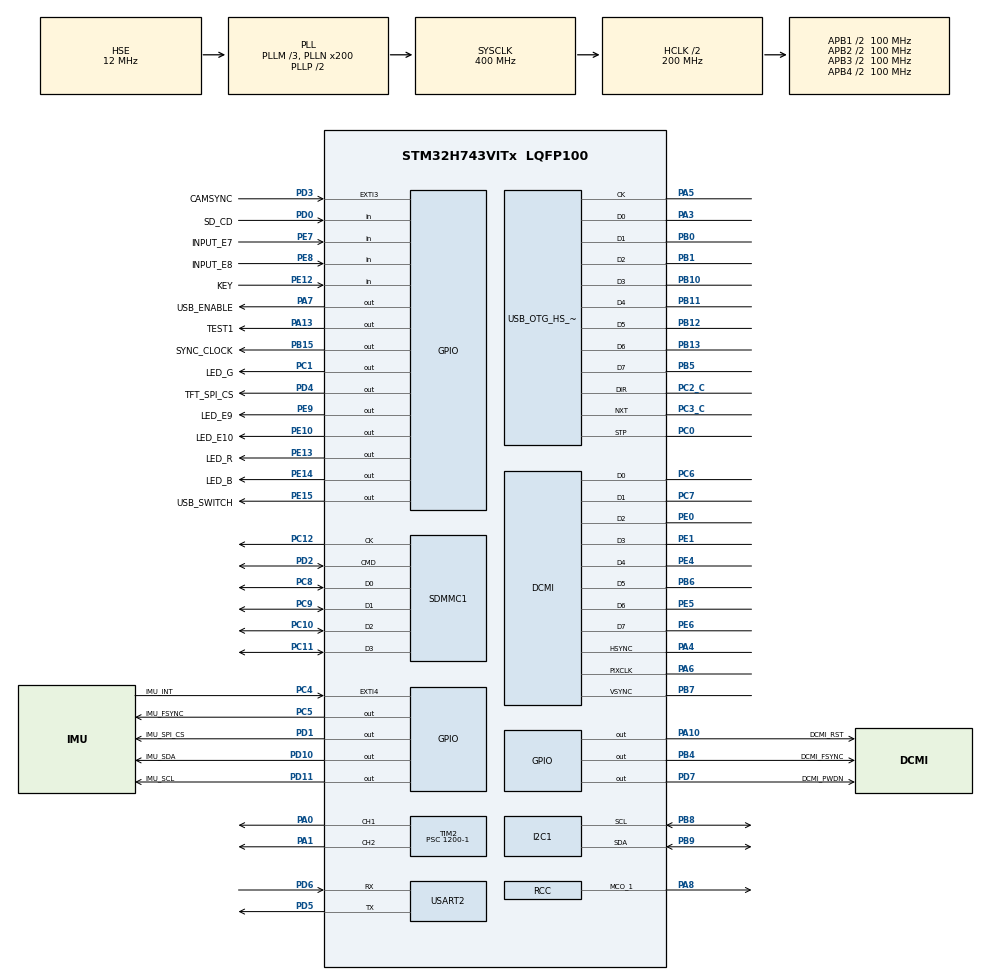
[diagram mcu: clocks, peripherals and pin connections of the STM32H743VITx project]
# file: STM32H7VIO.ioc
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CORTEX_M7.AccessPermission-Cortex_Memory_Protection_Unit_Region0_Settings=MPU_REGION_FULL_ACCESS
CORTEX_M7.BaseAddress-Cortex_Memory_Protection_Unit_Region0_Settings=0x24000000
CORTEX_M7.CPU_DCache=Enabled
CORTEX_M7.CPU_ICache=Enabled
CORTEX_M7.Enable-Cortex_Memory_Protection_Unit_Region0_Settings=MPU_REGION_ENABLE
CORTEX_M7.MPU_Control=__NULL
CORTEX_M7.Size-Cortex_Memory_Protection_Unit_Region0_Settings=MPU_REGION_SIZE_512KB
DCMI.JPEGMode=DCMI_JPEG_DISABLE
Dma.DCMI.0.Direction=DMA_PERIPH_TO_MEMORY
Dma.DCMI.0.EventEnable=DISABLE
Dma.DCMI.0.FIFOMode=DMA_FIFOMODE_ENABLE
Dma.DCMI.0.FIFOThreshold=DMA_FIFO_THRESHOLD_FULL
Dma.DCMI.0.Instance=DMA2_Stream1
Dma.DCMI.0.MemBurst=DMA_MBURST_SINGLE
Dma.DCMI.0.MemDataAlignment=DMA_MDATAALIGN_WORD
Dma.DCMI.0.MemInc=DMA_MINC_ENABLE
Dma.DCMI.0.Mode=DMA_CIRCULAR
Dma.DCMI.0.PeriphBurst=DMA_PBURST_SINGLE
Dma.DCMI.0.PeriphDataAlignment=DMA_PDATAALIGN_WORD
Dma.DCMI.0.PeriphInc=DMA_PINC_DISABLE
Dma.DCMI.0.Polarity=HAL_DMAMUX_REQ_GEN_RISING
Dma.DCMI.0.Priority=DMA_PRIORITY_HIGH
Dma.DCMI.0.RequestNumber=1
Dma.DCMI.0.SignalID=NONE
Dma.DCMI.0.SyncEnable=DISABLE
Dma.DCMI.0.SyncPolarity=HAL_DMAMUX_SYNC_NO_EVENT
Dma.DCMI.0.SyncRequestNumber=1
Dma.DCMI.0.SyncSignalID=NONE
Dma.Request0=DCMI
FATFS.BSP.number=1
FATFS._CODE_PAGE=936
FATFS._USE_LFN=2
FATFS0.BSP.STBoard=false
FATFS0.BSP.api=Unknown
FATFS0.BSP.i2caddr=0
FATFS0.BSP.instance=PD0
FATFS0.BSP.ip=GPIO
FATFS0.BSP.mode=Input
FATFS0.BSP.name=Detect_SDIO
FATFS0.BSP.solution=PD0
FREERTOS.Tasks01=defaultTask,0,1024,StartDefaultTask,Default,NULL,Dynamic,NULL,NULL
FREERTOS.configTOTAL_HEAP_SIZE=16384
FREERTOS.configUSE_TIMERS=1
I2C1.Analog_Filter=I2C_ANALOGFILTER_ENABLE
I2C1.Timing=0x10C0ECFF
Mcu.Family=STM32H7
Mcu.Name=STM32H743VITx
Mcu.Package=LQFP100
Mdma.MDMA_Channel0.Request0=SDMMC1_END_DATA
Mdma.MDMA_Channel0.RequestsNb=1
Mdma.MDMA_Channel0.SDMMC1_END_DATA.0.BlockCount=0
Mdma.MDMA_Channel0.SDMMC1_END_DATA.0.BlockDataLength=0
Mdma.MDMA_Channel0.SDMMC1_END_DATA.0.BufferTransferLength=1
Mdma.MDMA_Channel0.SDMMC1_END_DATA.0.CircularMode=MDMA_LINEAR_LIST
Mdma.MDMA_Channel0.SDMMC1_END_DATA.0.DataAlignment=MDMA_DATAALIGN_PACKENABLE
Mdma.MDMA_Channel0.SDMMC1_END_DATA.0.DestBlockAddressOffset=0
Mdma.MDMA_Channel0.SDMMC1_END_DATA.0.DestBurst=MDMA_DEST_BURST_SINGLE
Mdma.MDMA_Channel0.SDMMC1_END_DATA.0.DestDataSize=MDMA_DEST_DATASIZE_BYTE
Mdma.MDMA_Channel0.SDMMC1_END_DATA.0.DestinationInc=MDMA_DEST_INC_BYTE
Mdma.MDMA_Channel0.SDMMC1_END_DATA.0.DstAddress=0
Mdma.MDMA_Channel0.SDMMC1_END_DATA.0.Endianness=MDMA_LITTLE_ENDIANNESS_PRESERVE
Mdma.MDMA_Channel0.SDMMC1_END_DATA.0.Instance=MDMA_Channel0
Mdma.MDMA_Channel0.SDMMC1_END_DATA.0.MaskAddress=0
Mdma.MDMA_Channel0.SDMMC1_END_DATA.0.MaskData=0
Mdma.MDMA_Channel0.SDMMC1_END_DATA.0.Priority=MDMA_PRIORITY_LOW
Mdma.MDMA_Channel0.SDMMC1_END_DATA.0.Rank=First
Mdma.MDMA_Channel0.SDMMC1_END_DATA.0.SourceBlockAddressOffset=0
Mdma.MDMA_Channel0.SDMMC1_END_DATA.0.SourceBurst=MDMA_SOURCE_BURST_SINGLE
Mdma.MDMA_Channel0.SDMMC1_END_DATA.0.SourceDataSize=MDMA_SRC_DATASIZE_BYTE
Mdma.MDMA_Channel0.SDMMC1_END_DATA.0.SourceInc=MDMA_SRC_INC_BYTE
Mdma.MDMA_Channel0.SDMMC1_END_DATA.0.SrcAddress=0
Mdma.MDMA_Channel0.SDMMC1_END_DATA.0.TransferTriggerMode=MDMA_BUFFER_TRANSFER
Mdma.RequestSet0=MDMA_Channel0
Mdma.RequestSetsNb=1
NVIC.DCMI_IRQn=true\:5\:0\:false\:false\:true\:true\:true\:true\:true
NVIC.DMA2_Stream1_IRQn=true\:5\:0\:false\:false\:true\:true\:false\:true\:true
NVIC.EXTI3_IRQn=true\:0\:0\:false\:false\:true\:false\:true\:true\:true
NVIC.EXTI4_IRQn=true\:5\:0\:true\:false\:true\:false\:true\:true\:true
NVIC.MDMA_IRQn=true\:5\:0\:false\:false\:true\:true\:false\:true\:true
NVIC.OTG_HS_IRQn=true\:5\:0\:false\:false\:true\:true\:true\:true\:true
NVIC.PriorityGroup=NVIC_PRIORITYGROUP_4
NVIC.SDMMC1_IRQn=true\:5\:0\:false\:false\:true\:true\:true\:true\:true
NVIC.TIM6_DAC_IRQn=true\:5\:0\:false\:false\:true\:true\:true\:true\:true
NVIC.TIM7_IRQn=true\:0\:0\:false\:false\:true\:false\:false\:true\:true
NVIC.TIM8_UP_TIM13_IRQn=true\:5\:0\:false\:false\:true\:true\:true\:true\:true
NVIC.TimeBase=TIM7_IRQn
NVIC.TimeBaseIP=TIM7
PA0.Signal=S_TIM2_CH1
PA1.Signal=S_TIM2_CH2
PA10.GPIO_Label=DCMI_RST
PA10.Signal=GPIO_Output
PA13\ (JTMS/SWDIO).GPIO_Label=TEST1
PA13\ (JTMS/SWDIO).GPIO_ModeDefaultOutputPP=GPIO_MODE_OUTPUT_PP
PA13\ (JTMS/SWDIO).GPIO_PuPd=GPIO_PULLUP
PA13\ (JTMS/SWDIO).GPIO_Speed=GPIO_SPEED_FREQ_VERY_HIGH
PA13\ (JTMS/SWDIO).Signal=GPIO_Output
PA3.Mode=Device_HS
PA3.Signal=USB_OTG_HS_ULPI_D0
PA4.Mode=Slave_8_bits_External_Synchro
PA4.Signal=DCMI_HSYNC
PA5.Mode=Device_HS
PA5.Signal=USB_OTG_HS_ULPI_CK
PA6.Mode=Slave_8_bits_External_Synchro
PA6.Signal=DCMI_PIXCLK
PA7.GPIO_Label=USB_ENABLE
PA7.PinState=GPIO_PIN_SET
PA7.Signal=GPIO_Output
PA8.Mode=Clock-out-1
PA8.Signal=RCC_MCO_1
PB0.Mode=Device_HS
PB0.Signal=USB_OTG_HS_ULPI_D1
PB1.Mode=Device_HS
PB1.Signal=USB_OTG_HS_ULPI_D2
PB10.Mode=Device_HS
PB10.Signal=USB_OTG_HS_ULPI_D3
PB11.Mode=Device_HS
PB11.Signal=USB_OTG_HS_ULPI_D4
PB12.Mode=Device_HS
PB12.Signal=USB_OTG_HS_ULPI_D5
PB13.Mode=Device_HS
PB13.Signal=USB_OTG_HS_ULPI_D6
PB15.GPIO_Label=SYNC_CLOCK
PB15.GPIO_PuPd=GPIO_PULLUP
PB15.Signal=GPIO_Output
PB4\ (NJTRST).GPIO_Label=DCMI_FSYNC
PB4\ (NJTRST).Signal=GPIO_Output
PB5.Mode=Device_HS
PB5.Signal=USB_OTG_HS_ULPI_D7
PB6.Mode=Slave_8_bits_External_Synchro
PB6.Signal=DCMI_D5
PB7.Mode=Slave_8_bits_External_Synchro
PB7.Signal=DCMI_VSYNC
PB8.GPIO_Pu=GPIO_PULLUP
PB8.Mode=I2C
PB8.Signal=I2C1_SCL
PB9.GPIO_Pu=GPIO_PULLUP
PB9.Mode=I2C
PB9.Signal=I2C1_SDA
PC0.Mode=Device_HS
PC0.Signal=USB_OTG_HS_ULPI_STP
PC1.GPIO_Label=LED_G
PC1.PinState=GPIO_PIN_SET
PC1.Signal=GPIO_Output
PC10.GPIO_PuPd=GPIO_PULLUP
PC10.Mode=SD_4_bits_Wide_bus
PC10.Signal=SDMMC1_D2
PC11.GPIO_PuPd=GPIO_PULLUP
PC11.Mode=SD_4_bits_Wide_bus
PC11.Signal=SDMMC1_D3
PC12.GPIO_PuPd=GPIO_PULLUP
PC12.Mode=SD_4_bits_Wide_bus
PC12.Signal=SDMMC1_CK
PC2_C.Mode=Device_HS
PC2_C.Signal=USB_OTG_HS_ULPI_DIR
PC3_C.Mode=Device_HS
PC3_C.Signal=USB_OTG_HS_ULPI_NXT
PC4.GPIO_Label=IMU_INT
PC4.GPIO_ModeDefaultEXTI=GPIO_MODE_IT_RISING
PC4.GPIO_PuPd=GPIO_PULLUP
PC4.Signal=GPXTI4
PC5.GPIO_Label=IMU_FSYNC
PC5.Signal=GPIO_Output
PC6.Mode=Slave_8_bits_External_Synchro
PC6.Signal=DCMI_D0
PC7.Mode=Slave_8_bits_External_Synchro
PC7.Signal=DCMI_D1
PC8.GPIO_PuPd=GPIO_PULLUP
PC8.Mode=SD_4_bits_Wide_bus
PC8.Signal=SDMMC1_D0
PC9.GPIO_PuPd=GPIO_PULLUP
PC9.Mode=SD_4_bits_Wide_bus
PC9.Signal=SDMMC1_D1
PD0.GPIO_Label=SD_CD
PD0.Signal=GPIO_Input
PD1.GPIO_Label=IMU_SPI_CS
PD1.Signal=GPIO_Output
PD10.GPIO_Label=IMU_SDA
PD10.Signal=GPIO_Output
PD11.GPIO_Label=IMU_SCL
PD11.Signal=GPIO_Output
PD2.GPIO_PuPd=GPIO_PULLUP
PD2.Mode=SD_4_bits_Wide_bus
PD2.Signal=SDMMC1_CMD
PD3.GPIO_Label=CAMSYNC
PD3.GPIO_ModeDefaultEXTI=GPIO_MODE_IT_RISING_FALLING
PD3.GPIO_PuPd=GPIO_PULLUP
PD3.Signal=GPXTI3
PD4.GPIO_Label=TFT_SPI_CS
PD4.Signal=GPIO_Output
PD5.Mode=Asynchronous
PD5.Signal=USART2_TX
PD6.Mode=Asynchronous
PD6.Signal=USART2_RX
PD7.GPIO_Label=DCMI_PWDN
PD7.Signal=GPIO_Output
PE0.Mode=Slave_8_bits_External_Synchro
PE0.Signal=DCMI_D2
PE1.Mode=Slave_8_bits_External_Synchro
PE1.Signal=DCMI_D3
PE10.GPIO_Label=LED_E10
PE10.PinState=GPIO_PIN_SET
PE10.Signal=GPIO_Output
PE12.GPIO_Label=KEY
PE12.GPIO_PuPd=GPIO_PULLUP
PE12.Signal=GPIO_Input
PE13.GPIO_Label=LED_R
PE13.PinState=GPIO_PIN_SET
PE13.Signal=GPIO_Output
PE14.GPIO_Label=LED_B
PE14.GPIO_Speed=GPIO_SPEED_FREQ_VERY_HIGH
PE14.PinState=GPIO_PIN_SET
PE14.Signal=GPIO_Output
PE15.GPIO_Label=USB_SWITCH
PE15.PinState=GPIO_PIN_RESET
PE15.Signal=GPIO_Output
PE4.Mode=Slave_8_bits_External_Synchro
PE4.Signal=DCMI_D4
PE5.Mode=Slave_8_bits_External_Synchro
PE5.Signal=DCMI_D6
PE6.Mode=Slave_8_bits_External_Synchro
PE6.Signal=DCMI_D7
PE7.GPIO_Label=INPUT_E7
PE7.Signal=GPIO_Input
PE8.GPIO_Label=INPUT_E8
PE8.Signal=GPIO_Input
PE9.GPIO_Label=LED_E9
PE9.PinState=GPIO_PIN_SET
PE9.Signal=GPIO_Output
PH0-OSC_IN\ (PH0).Mode=HSE-External-Oscillator
PH0-OSC_IN\ (PH0).Signal=RCC_OSC_IN
PH1-OSC_OUT\ (PH1).Mode=HSE-External-Oscillator
PH1-OSC_OUT\ (PH1).Signal=RCC_OSC_OUT
ProjectManager.HeapSize=0xA00
ProjectManager.StackSize=0x1000
ProjectManager.TargetToolchain=Makefile
RCC.ADCCLockSelection=RCC_ADCCLKSOURCE_CLKP
RCC.ADCFreq_Value=64000000
RCC.APB1Freq_Value=100000000
RCC.APB2Freq_Value=100000000
RCC.APB3Freq_Value=100000000
RCC.APB4Freq_Value=100000000
RCC.CortexFreq_Value=400000000
RCC.D1PPRE=RCC_APB3_DIV2
RCC.D2PPRE1=RCC_APB1_DIV2
RCC.D2PPRE2=RCC_APB2_DIV2
RCC.D3PPRE=RCC_APB4_DIV2
RCC.DIVM1=3
RCC.DIVM2=6
RCC.DIVM3=6
RCC.DIVN1=200
RCC.DIVN2=112
RCC.DIVN3=400
RCC.DIVP2=1
RCC.DIVQ1=5
RCC.DIVQ3=4
RCC.DIVR2=16
RCC.HCLKFreq_Value=200000000
RCC.HPRE=RCC_HCLK_DIV2
RCC.HSE_VALUE=12000000
RCC.PLL2FRACN=4096
RCC.PLL3FRACN=0
RCC.PLLFRACN=0
RCC.PLLSourceVirtual=RCC_PLLSOURCE_HSE
RCC.RCC_MCO1Source=RCC_MCO1SOURCE_PLL1QCLK
RCC.RCC_MCODiv1=RCC_MCODIV_6
RCC.SYSCLKFreq_VALUE=400000000
RCC.SYSCLKSource=RCC_SYSCLKSOURCE_PLLCLK
RCC.USBCLockSelection=RCC_USBCLKSOURCE_HSI48
RCC.USBFreq_Value=48000000
SDMMC1.USE_SD_TRANSCEIVER=0U
SH.S_TIM2_CH1.0=TIM2_CH1,PWM Generation1 CH1
SH.S_TIM2_CH2.0=TIM2_CH2,PWM Generation2 CH2
TIM13.AutoReloadPreload=TIM_AUTORELOAD_PRELOAD_ENABLE
TIM13.Period=500-1
TIM13.Prescaler=2000-1
TIM2.AutoReloadPreload=TIM_AUTORELOAD_PRELOAD_ENABLE
TIM2.Channel-PWM\ Generation1\ CH1=TIM_CHANNEL_1
TIM2.Channel-PWM\ Generation2\ CH2=TIM_CHANNEL_2
TIM2.Period=100-1
TIM2.Prescaler=1200-1
TIM6.AutoReloadPreload=TIM_AUTORELOAD_PRELOAD_ENABLE
TIM6.Period=500-1
TIM6.Prescaler=2000-1
USART2.VirtualMode-Asynchronous=VM_ASYNC
USB_DEVICE.CLASS_NAME_HS=CDC
USB_DEVICE.VirtualMode-CDC_HS=Cdc
USB_DEVICE.VirtualModeHS=Cdc_HS
USB_OTG_HS.VirtualMode-Device_HS=Device_HS
USB_OTG_HS.dma_enable-Device_HS=DISABLE
VP_FATFS_VS_SDIO.Mode=SDIO
VP_FREERTOS_VS_CMSIS_V1.Mode=CMSIS_V1
VP_SYS_VS_tim7.Mode=TIM7
VP_TIM13_VS_ClockSourceINT.Mode=Enable_Timer
VP_TIM6_VS_ClockSourceINT.Mode=Enable_Timer
VP_USB_DEVICE_VS_USB_DEVICE_CDC_HS.Mode=CDC_HS
board=custom

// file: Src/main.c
/* USER CODE BEGIN Header */
/**
  ******************************************************************************
  * @file           : main.c
  * @brief          : Main program body
  ******************************************************************************
  * @attention
  *
  * <h2><center>&copy; Copyright (c) 2019 STMicroelectronics.
  * All rights reserved.</center></h2>
  *
  * This software component is licensed by ST under Ultimate Liberty license
  * SLA0044, the "License"; You may not use this file except in compliance with
  * the License. You may obtain a copy of the License at:
  *                             www.st.com/SLA0044
  *
  ******************************************************************************
  */
/* USER CODE END Header */
#include "main.h"
#include "cmsis_os.h"
#include "dcmi.h"
#include "dma.h"
#include "fatfs.h"
#include "i2c.h"
#include "mdma.h"
#include "sdmmc.h"
#include "tim.h"
#include "usart.h"
#include "usb_device.h"
#include "gpio.h"

/* USER CODE BEGIN Includes */
#include "mpu6050.h"
/* USER CODE END Includes */

void SystemClock_Config(void);
void MX_FREERTOS_Init(void);
/* USER CODE BEGIN PFP */
uint32_t timer_cnt = 0;
/* USER CODE END PFP */

int main(void)
{

  /* Enable I-Cache---------------------------------------------------------*/
  SCB_EnableICache();

  /* Enable D-Cache---------------------------------------------------------*/
  SCB_EnableDCache();

  /* MCU Configuration--------------------------------------------------------*/

  /* Reset of all peripherals, Initializes the Flash interface and the Systick. */
  HAL_Init();

  /* Configure the system clock */
  SystemClock_Config();

  /* USER CODE BEGIN SysInit */
  __HAL_RCC_DMA2_CLK_ENABLE();//must enable dma2,for dcmi work well.
  /* USER CODE END SysInit */

  /* Initialize all configured peripherals */
  MX_GPIO_Init();
  MX_DCMI_Init();
  MX_I2C1_Init();
  MX_DMA_Init();
  MX_SDMMC1_SD_Init();
  MX_FATFS_Init();
  MX_MDMA_Init();
  MX_USART2_UART_Init();
  MX_TIM6_Init();
  MX_TIM13_Init();
  MX_TIM2_Init();
  /* USER CODE BEGIN 2 */
  USER_MX_TIM6_Init(40);
  //HAL_TIM_Base_Start_IT(&htim6);
  //HAL_TIM_Base_Start_IT(&htim13);
  HAL_TIM_PWM_Start(&htim2,TIM_CHANNEL_1);
  HAL_TIM_PWM_Start(&htim2,TIM_CHANNEL_2);
  __HAL_TIM_SET_COMPARE(&htim2, TIM_CHANNEL_1, 0);
  __HAL_TIM_SET_COMPARE(&htim2, TIM_CHANNEL_2, 0);
  printf("[ openvio app ]\r\n");

  /* USER CODE END 2 */

  /* Call init function for freertos objects (in freertos.c) */
  MX_FREERTOS_Init();
  /* Start scheduler */
  osKernelStart();

  /* We should never get here as control is now taken by the scheduler */
  /* Infinite loop */
  while (1)
  {

    /* USER CODE BEGIN 3 */
      //CDC_Transmit_HS(send_buf,sizeof(send_buf));
  }
  /* USER CODE END 3 */
}

void SystemClock_Config(void)
{
  RCC_OscInitTypeDef RCC_OscInitStruct = {0};
  RCC_ClkInitTypeDef RCC_ClkInitStruct = {0};

  /** Supply configuration update enable
  */
  HAL_PWREx_ConfigSupply(PWR_LDO_SUPPLY);
  /** Configure the main internal regulator output voltage
  */
  __HAL_PWR_VOLTAGESCALING_CONFIG(PWR_REGULATOR_VOLTAGE_SCALE1);

  while(!__HAL_PWR_GET_FLAG(PWR_FLAG_VOSRDY)) {}
  /** Initializes the RCC Oscillators according to the specified parameters
  * in the RCC_OscInitTypeDef structure.
  */
  RCC_OscInitStruct.OscillatorType = RCC_OSCILLATORTYPE_HSI48|RCC_OSCILLATORTYPE_HSE;
  RCC_OscInitStruct.HSEState = RCC_HSE_ON;
  RCC_OscInitStruct.HSI48State = RCC_HSI48_ON;
  RCC_OscInitStruct.PLL.PLLState = RCC_PLL_ON;
  RCC_OscInitStruct.PLL.PLLSource = RCC_PLLSOURCE_HSE;
  RCC_OscInitStruct.PLL.PLLM = 3;
  RCC_OscInitStruct.PLL.PLLN = 200;
  RCC_OscInitStruct.PLL.PLLP = 2;
  RCC_OscInitStruct.PLL.PLLQ = 5;
  RCC_OscInitStruct.PLL.PLLR = 2;
  RCC_OscInitStruct.PLL.PLLRGE = RCC_PLL1VCIRANGE_2;
  RCC_OscInitStruct.PLL.PLLVCOSEL = RCC_PLL1VCOWIDE;
  RCC_OscInitStruct.PLL.PLLFRACN = 0;
  if (HAL_RCC_OscConfig(&RCC_OscInitStruct) != HAL_OK)
  {
    Error_Handler();
  }
  /** Initializes the CPU, AHB and APB buses clocks
  */
  RCC_ClkInitStruct.ClockType = RCC_CLOCKTYPE_HCLK|RCC_CLOCKTYPE_SYSCLK
                              |RCC_CLOCKTYPE_PCLK1|RCC_CLOCKTYPE_PCLK2
                              |RCC_CLOCKTYPE_D3PCLK1|RCC_CLOCKTYPE_D1PCLK1;
  RCC_ClkInitStruct.SYSCLKSource = RCC_SYSCLKSOURCE_PLLCLK;
  RCC_ClkInitStruct.SYSCLKDivider = RCC_SYSCLK_DIV1;
  RCC_ClkInitStruct.AHBCLKDivider = RCC_HCLK_DIV2;
  RCC_ClkInitStruct.APB3CLKDivider = RCC_APB3_DIV2;
  RCC_ClkInitStruct.APB1CLKDivider = RCC_APB1_DIV2;
  RCC_ClkInitStruct.APB2CLKDivider = RCC_APB2_DIV2;
  RCC_ClkInitStruct.APB4CLKDivider = RCC_APB4_DIV2;

  if (HAL_RCC_ClockConfig(&RCC_ClkInitStruct, FLASH_LATENCY_2) != HAL_OK)
  {
    Error_Handler();
  }
  HAL_RCC_MCOConfig(RCC_MCO1, RCC_MCO1SOURCE_PLL1QCLK, RCC_MCODIV_6);
}

/* USER CODE BEGIN 4 */
void get_time(uint32_t *t1_cnt,uint16_t *t2_cnt)
{
	*t2_cnt = htim6.Instance->CNT;
	*t1_cnt = timer_cnt;
}
/* USER CODE END 4 */

void HAL_TIM_PeriodElapsedCallback(TIM_HandleTypeDef *htim)
{
  if (htim->Instance == TIM7) {
    HAL_IncTick();
  }
  /* USER CODE BEGIN Callback 1 */
  if (htim->Instance == TIM6) {

	//timer_cnt++;
  }

  if (htim->Instance == TIM13) {
	  mpu6050_transmit();
  }
  /* USER CODE END Callback 1 */
}

void Error_Handler(void)
{
}

/************************ (C) COPYRIGHT STMicroelectronics *****END OF FILE****/

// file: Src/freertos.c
/* USER CODE BEGIN Header */
/**
  ******************************************************************************
  * File Name          : freertos.c
  * Description        : Code for freertos applications
  ******************************************************************************
  * @attention
  *
  * <h2><center>&copy; Copyright (c) 2019 STMicroelectronics.
  * All rights reserved.</center></h2>
  *
  * This software component is licensed by ST under Ultimate Liberty license
  * SLA0044, the "License"; You may not use this file except in compliance with
  * the License. You may obtain a copy of the License at:
  *                             www.st.com/SLA0044
  *
  ******************************************************************************
  */
/* USER CODE END Header */

#include "FreeRTOS.h"
#include "task.h"
#include "main.h"
#include "cmsis_os.h"

/* USER CODE BEGIN Includes */
#include "openvio_task.h"
#include "dcmi.h"
#include "sd_card.h"
#include "openvio.h"
#include "usbd_cdc_if.h"

uint16_t adc_value;
uint8_t fps_value;
extern uint8_t fps_count;
extern USBD_HandleTypeDef hUsbDeviceHS;
extern struct OPENVIO_STATUS vio_status;
//extern ADC_HandleTypeDef hadc1;
/* USER CODE END Includes */

osThreadId defaultTaskHandle;

/* USER CODE BEGIN FunctionPrototypes */
osThreadId openvioTaskHandle;
/* USER CODE END FunctionPrototypes */

void StartDefaultTask(void const * argument);

extern void MX_USB_DEVICE_Init(void);
void MX_FREERTOS_Init(void); /* (MISRA C 2004 rule 8.1) */

/* GetIdleTaskMemory prototype (linked to static allocation support) */
void vApplicationGetIdleTaskMemory( StaticTask_t **ppxIdleTaskTCBBuffer, StackType_t **ppxIdleTaskStackBuffer, uint32_t *pulIdleTaskStackSize );

/* GetTimerTaskMemory prototype (linked to static allocation support) */
void vApplicationGetTimerTaskMemory( StaticTask_t **ppxTimerTaskTCBBuffer, StackType_t **ppxTimerTaskStackBuffer, uint32_t *pulTimerTaskStackSize );

/* USER CODE BEGIN GET_IDLE_TASK_MEMORY */
static StaticTask_t xIdleTaskTCBBuffer;
static StackType_t xIdleStack[configMINIMAL_STACK_SIZE];

void vApplicationGetIdleTaskMemory(StaticTask_t **ppxIdleTaskTCBBuffer, StackType_t **ppxIdleTaskStackBuffer, uint32_t *pulIdleTaskStackSize)
{
  *ppxIdleTaskTCBBuffer = &xIdleTaskTCBBuffer;
  *ppxIdleTaskStackBuffer = &xIdleStack[0];
  *pulIdleTaskStackSize = configMINIMAL_STACK_SIZE;
  /* place for user code */
}
/* USER CODE END GET_IDLE_TASK_MEMORY */

/* USER CODE BEGIN GET_TIMER_TASK_MEMORY */
static StaticTask_t xTimerTaskTCBBuffer;
static StackType_t xTimerStack[configTIMER_TASK_STACK_DEPTH];

void vApplicationGetTimerTaskMemory(StaticTask_t **ppxTimerTaskTCBBuffer, StackType_t **ppxTimerTaskStackBuffer, uint32_t *pulTimerTaskStackSize)
{
  *ppxTimerTaskTCBBuffer = &xTimerTaskTCBBuffer;
  *ppxTimerTaskStackBuffer = &xTimerStack[0];
  *pulTimerTaskStackSize = configTIMER_TASK_STACK_DEPTH;
  /* place for user code */
}
/* USER CODE END GET_TIMER_TASK_MEMORY */

void MX_FREERTOS_Init(void) {

  /* Create the thread(s) */
  /* definition and creation of defaultTask */
  osThreadDef(defaultTask, StartDefaultTask, osPriorityNormal, 0, 1024);
  defaultTaskHandle = osThreadCreate(osThread(defaultTask), NULL);

  /* USER CODE BEGIN RTOS_THREADS */
  /* add threads, ... */
  osThreadDef(openvioTask, StartOpenvioTask, osPriorityNormal, 0, 2048);
  openvioTaskHandle = osThreadCreate(osThread(openvioTask), NULL);

  /* USER CODE END RTOS_THREADS */

}

/* USER CODE BEGIN Header_StartDefaultTask */
// DMA_BUFFER uint16_t ADC_ConvertedValue[10];
// uint16_t Get_Adc(uint32_t ch)
// {
//   ADC_ChannelConfTypeDef ADC1_ChanConf;

//   ADC1_ChanConf.Channel = ch;
//   ADC1_ChanConf.Rank = ADC_REGULAR_RANK_1;
//   ADC1_ChanConf.SamplingTime = ADC_SAMPLETIME_64CYCLES_5;
//   ADC1_ChanConf.SingleDiff = ADC_SINGLE_ENDED;
//   ADC1_ChanConf.OffsetNumber = ADC_OFFSET_NONE;
//   ADC1_ChanConf.Offset = 0;
//   HAL_ADC_ConfigChannel(&hadc1, &ADC1_ChanConf);

//   HAL_ADC_Start(&hadc1);

//   HAL_ADC_PollForConversion(&hadc1, 10);
//   return (uint16_t)HAL_ADC_GetValue(&hadc1);
// }

// uint16_t Get_Adc_Average(uint32_t ch, uint8_t times)
// {
//   uint32_t temp_val = 0;
//   uint8_t t;
//   for (t = 0; t < times; t++)
//   {
//     temp_val += Get_Adc(ch);
//     HAL_Delay(5);
//   }
//   return temp_val / times;
// }

QueueHandle_t xQueue;
struct USB_FRAME_STRUCT usb_frame_s;
extern DMA_BUFFER uint8_t dcmi_image_buffer[CAM_PACKAGE_MAX_SIZE * 2];
extern TickType_t IMUTimeNow;
TickType_t CAMTimeNow;
extern uint8_t imu_lock;
/**
  * @brief  Function implementing the defaultTask thread.
  * @param  argument: Not used
  * @retval None
  */
/* USER CODE END Header_StartDefaultTask */
void StartDefaultTask(void const * argument)
{
  /* init code for USB_DEVICE */
  MX_USB_DEVICE_Init();
  /* USER CODE BEGIN StartDefaultTask */
  int try_count = 10;
  /* Infinite loop */

  //HAL_ADCEx_Calibration_Start(&hadc1, ADC_CALIB_OFFSET, ADC_SINGLE_ENDED);
  xQueue = xQueueCreate(200, sizeof(struct USB_FRAME_STRUCT));
  if (xQueue == NULL)
  {
    printf("Camera xQueueCreate Fail\r\n");
  }

  for (;;)
  {
    if (xQueueReceive(xQueue, &(usb_frame_s), (TickType_t)0xFFFFFF))
    {
      if (usb_frame_s.sensor == SENSOR_USB_CAM)
      {
        while (CAM_Transmit_HS(usb_frame_s.addr, usb_frame_s.len) != 0)
        {
          osDelay(1);
        }

        //HAL_GPIO_WritePin(GPIOD, TEST2_Pin, GPIO_PIN_RESET);

        //if (usb_frame_s.len > 20)
        //  LCD_Show_Cam(usb_frame_s.addr, usb_frame_s.len);
      }
      else if (usb_frame_s.sensor == SENSOR_USB_IMU)
      {
        while (MPU_Transmit_HS(usb_frame_s.addr, usb_frame_s.len) != 0)
        {
          //osDelay(1);
        }
      }
    }

    // adc_value = Get_Adc_Average(ADC_CHANNEL_16,20);
    // printf("%d\t%0.2f\t%0.2f\r\n", adc_value,3.3f*(float)adc_value/4096,3.3f*(float)adc_value/4096*2);
    // osDelay(1000);

    // GPIO_PinState state = HAL_GPIO_ReadPin(KEY_GPIO_Port, KEY_Pin);
    // printf(" %d\r\n", state);

  }
  /* USER CODE END StartDefaultTask */
}

/* USER CODE BEGIN Application */
// void HAL_ADC_ConvCpltCallback(ADC_HandleTypeDef *AdcHandle)
// {
//   ADC_ConvertedValue[0] = HAL_ADC_GetValue(AdcHandle);
//   printf("%d\t%0.2f\r\n", ADC_ConvertedValue[0], 3.3f * (float)ADC_ConvertedValue[0] / 4096);
// }
/* USER CODE END Application */

/************************ (C) COPYRIGHT STMicroelectronics *****END OF FILE****/
